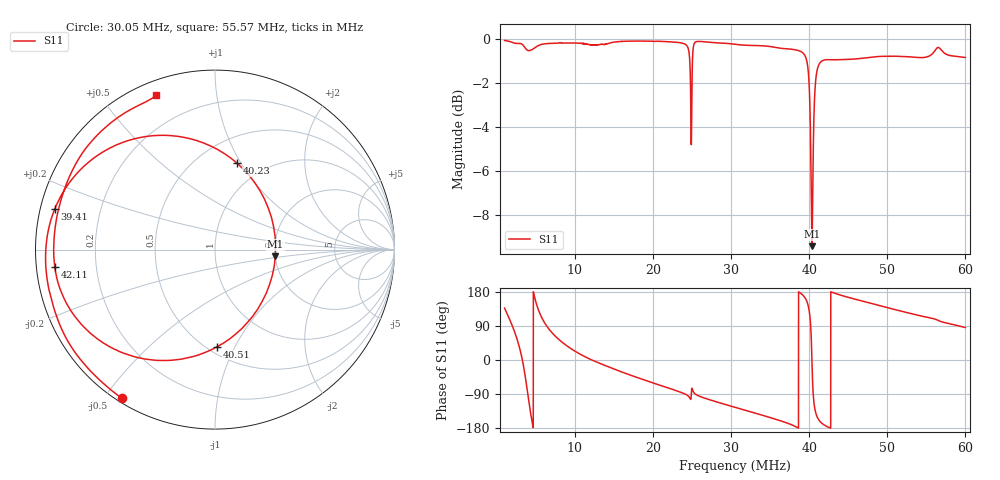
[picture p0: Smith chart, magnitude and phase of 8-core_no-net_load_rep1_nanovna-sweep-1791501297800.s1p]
! NanoVNA Web complex sweep
! Processing: unaveraged complex samples; linear segment spacing; no smoothing
# Hz S RI R 50
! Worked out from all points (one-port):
!   5050 points, 1 MHz to 60 MHz, reference 50 ohm
!   lowest |S11| = -9.4 dB at 40.36 MHz (marker M1), VSWR 2.02, Z = 100 - j8.6 ohm
!   |S11| at or under -10 dB: nowhere
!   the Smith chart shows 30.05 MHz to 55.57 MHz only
!   S11 on the Smith chart (normalised r, x): 30.05 MHz: 0.02, -0.55; 39.41 MHz: 0.04, +0.12; 40.23 MHz: 0.75, +0.96; 40.51 MHz: 0.56, -0.85; 42.11 MHz: 0.05, -0.05; 55.57 MHz: 0.06, +0.69
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1000000  -0.7254 0.6796
2238610  0.229 0.9535
3150040  0.9556 0.2023
3547330  0.8215 -0.498
3967990  0.00206 -0.9437
4318540  -0.7122 -0.6193
4634035  -0.9475 -0.0759
5113120  -0.7916 0.5498
5650630  -0.4305 0.8727
8384920  0.6743 0.7113
1.1201e7  0.9637 0.1623
1.575816e7  0.8585 -0.4904
2.313139e7  0.1382 -0.9745
3.004891e7  -0.5201 -0.8264
3.050462e7  -0.5579 -0.799
3.787786e7  -0.9396 -0.1302
3.94086e7  -0.8929 0.2261
3.995779e7  -0.5723 0.5724
4.022654e7  0.1239 0.4807
4.035508e7  0.3358 -0.038
4.050698e7  0.0125 -0.5405
4.071732e7  -0.4699 -0.5902
4.105618e7  -0.7564 -0.4032
4.210783e7  -0.8928 -0.0972
4.52511e7  -0.8656 0.2487
5.262433e7  -0.5171 0.7524
5.556895e7  -0.326 0.8608
5.999756e7  0.0695 0.9065
